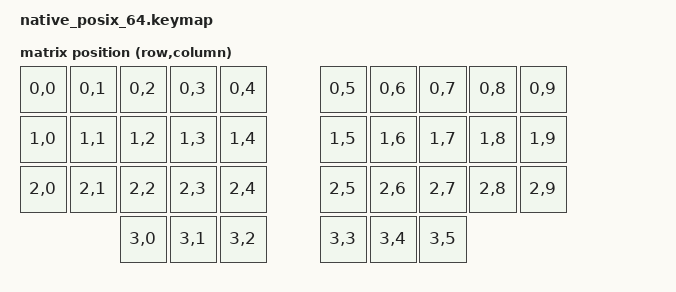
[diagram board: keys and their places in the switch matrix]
#include <dt-bindings/zmk/matrix_transform.h>
#include <dt-bindings/zmk/kscan_mock.h>

/ {
    chosen {
        zmk,matrix-transform = &transform;
    };

    /* op36 position N is RC(N/10, N%10); thumbs 30..35 are row 3. */
    transform: keymap_transform {
        compatible = "zmk,matrix-transform";
        columns = <10>;
        rows = <4>;
        map = <
            RC(0,0) RC(0,1) RC(0,2) RC(0,3) RC(0,4) RC(0,5) RC(0,6) RC(0,7) RC(0,8) RC(0,9)
            RC(1,0) RC(1,1) RC(1,2) RC(1,3) RC(1,4) RC(1,5) RC(1,6) RC(1,7) RC(1,8) RC(1,9)
            RC(2,0) RC(2,1) RC(2,2) RC(2,3) RC(2,4) RC(2,5) RC(2,6) RC(2,7) RC(2,8) RC(2,9)
            RC(3,0) RC(3,1) RC(3,2) RC(3,3) RC(3,4) RC(3,5)
        >;
    };
};

&kscan {
    rows = <4>;
    columns = <10>;
    events = <
        /* lead-in so require-prior-idle-ms sees real idle time */
        ZMK_MOCK_PRESS(0,1,10)
        ZMK_MOCK_RELEASE(0,1,400)

        /* Tab stays on nav at position 14, right of &kp RIGHT, on the hand the
           right thumb leaves free. Escape has left the layer: position 10, the
           other flank of the arrows, is &none now, and Escape lives on the
           thumb cluster alone.

           Hold 34 past the tapping term, then press all three. Position 10
           must emit nothing, the arrow at 11 is 0x50, and Tab is 0x2B. */
        ZMK_MOCK_PRESS(3,4,300)
        ZMK_MOCK_PRESS(1,0,30)
        ZMK_MOCK_RELEASE(1,0,30)
        ZMK_MOCK_PRESS(1,1,30)
        ZMK_MOCK_RELEASE(1,1,30)
        ZMK_MOCK_PRESS(1,4,30)
        ZMK_MOCK_RELEASE(1,4,30)

        /* Escape is still one key away from here: position 32 is &trans on
           nav, so it falls through to the base layer's &ltt L_SYM_EN ESC and
           taps 0x29 with nav still held. That fall-through is what makes "on
           the thumb cluster on every layer" true. */
        ZMK_MOCK_PRESS(3,2,30)
        ZMK_MOCK_RELEASE(3,2,30)
        ZMK_MOCK_RELEASE(3,4,300)

        /* With 34 up, the same three positions are ordinary letters again:
           A (0x04), R (0x15) and G (0x0A) on en. */
        ZMK_MOCK_PRESS(1,0,30)
        ZMK_MOCK_RELEASE(1,0,30)
        ZMK_MOCK_PRESS(1,1,30)
        ZMK_MOCK_RELEASE(1,1,30)
        ZMK_MOCK_PRESS(1,4,30)
        ZMK_MOCK_RELEASE(1,4,300)
    >;
};

#include "/cfg/op36_ruen.keymap"
